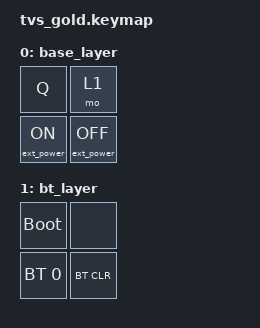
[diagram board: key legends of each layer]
#include <behaviors.dtsi>
#include <dt-bindings/zmk/keys.h>
#include <dt-bindings/zmk/bt.h>
#include <dt-bindings/zmk/ext_power.h>

/ {

    keymap {
        zmk,kscan = &kscan0;
        compatible = "zmk,keymap";

        base_layer {
            bindings = <
                &kp Q     &mo 1
                &ext_power EP_ON     &ext_power EP_OFF
           >;
        };
        bt_layer {
            bindings = <
                &bootloader     &none
                &bt BT_SEL 0     &bt BT_CLR

            >;
        };

    };
};
